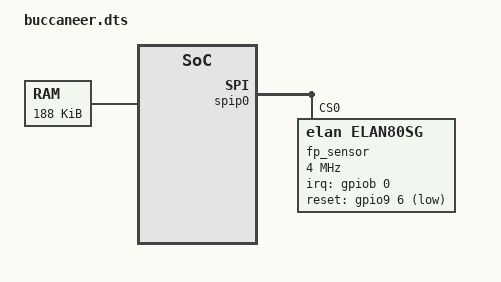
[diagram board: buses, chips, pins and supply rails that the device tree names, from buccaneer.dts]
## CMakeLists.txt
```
# Copyright 2025 The ChromiumOS Authors
# Use of this source code is governed by a BSD-style license that can be
# found in the LICENSE file.

zephyr_library_sources_ifdef(CONFIG_HELIPILOT_EC_RO_QUIRKS "src/ec_quirks.c")
zephyr_library_sources_ifdef(CONFIG_EC_HOST_CMD "src/fp_transport.c")
zephyr_library_sources("src/power.c")
```

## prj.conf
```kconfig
# Copyright 2025 The ChromiumOS Authors
# Use of this source code is governed by a BSD-style license that can be
# found in the LICENSE file.

CONFIG_BASEBOARD_HELIPILOT=y

# System Controller drivers
CONFIG_SYSCON=y
CONFIG_SYS_CLOCK_HW_CYCLES_PER_SEC=16000000

# Power Management
CONFIG_PM=y
CONFIG_PM_DEVICE=y

# NPCX Flash driver options
CONFIG_FLASH_JESD216_API=y
CONFIG_FLASH_EX_OP_ENABLED=y
CONFIG_CROS_FLASH_NPCX_ERASE_SIZE=0x10000

# NPCX entropy driver options
CONFIG_ENTROPY_GENERATOR=y
CONFIG_ENTROPY_NPCX_DRBG_RESEED_INTERVAL=4294967295

# Set security strength to 256b
CONFIG_ENTROPY_NPCX_DRBG_SECURITY_STRENGTH_256B=y

# Enable OTP Key
CONFIG_NPCX_OTP_KEY=y

# Watchdog
CONFIG_PLATFORM_EC_WATCHDOG_PERIOD_MS=10000
CONFIG_WDT_NPCX_WARNING_LEADING_TIME_MS=3000

# RTC
CONFIG_PLATFORM_EC_RTC=y

# Disable flash shell for helipilot to save space
CONFIG_FLASH_SHELL=n

# Disable math util to save space
CONFIG_PLATFORM_EC_MATH_UTIL=n

# Disable assert to save space
CONFIG_PLATFORM_EC_DEBUG_ASSERT=n

# Host Commands
CONFIG_EC_HOST_CMD_INITIALIZE_AT_BOOT=n
CONFIG_EC_HOST_CMD_HANDLER_TX_BUFFER_SIZE=549
CONFIG_EC_HOST_CMD_HANDLER_RX_BUFFER_SIZE=544
CONFIG_EC_HOST_CMD_BACKEND_SHI=y
CONFIG_EC_HOST_CMD_BACKEND_UART=y
CONFIG_UART_ASYNC_API=y
CONFIG_UART_NPCX_USE_MDMA=y

# When HW_STACK_PROTECTION is enabled, the NULL pointer exception page size
# (CONFIG_CORTEX_M_NULL_POINTER_EXCEPTION_PAGE_SIZE)
# must have size greater or equal ARM_MPU_REGION_MIN_ALIGN_AND_SIZE (0x80).
# However that MPU configuration prevents access to the NPCX ROM functions at
# address 0x40-x0x5c.
#
# In order to keep HW_STACK_PROTECTION enabled, enable NULL pointer exception
# detection via the Data Watchpoint and Trace (DWT) unit.
CONFIG_NULL_POINTER_EXCEPTION_DETECTION_DWT=y

# Helipilot specific CROS EC sizes
CONFIG_CROS_EC_RO_SIZE=0x1F000

# b/427468960#comment10: sysworkq task overflows when handling Host Commands
# HC 0x0122 (EC_CMD_ADD_ENTROPY) and HC 0x0406 (EC_CMD_FP_CONTEXT)
CONFIG_SYSTEM_WORKQUEUE_STACK_SIZE=2048

# Enable runtime power management for devices
# Used in ec_host_cmd_backend_shi_npcx.c. Also see
# https://github.com/zephyrproject-rtos/zephyr/pull/92567.
CONFIG_PM_DEVICE_RUNTIME=y

# Enable NPCX RAM Lock
CONFIG_NPCX_RAM_LOCK=y

# Enable SHI shim initialization via SYS_INIT for earlier execution,
# which is required to prevent a race condition with the host command
# EC_CMD_RWSIG_ACTION (0x011d) during boot/sysjump. See b/427468960.
CONFIG_NPCX_SHI_SHIM_INIT_WITH_SYS_INIT=y

# Current rollback version value for helipilot.
CONFIG_PLATFORM_EC_ROLLBACK_VERSION=0
```

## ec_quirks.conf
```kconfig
# Copyright 2025 The ChromiumOS Authors
# Use of this source code is governed by a BSD-style license that can be
# found in the LICENSE file.

CONFIG_HELIPILOT_EC_RO_QUIRKS=y
```

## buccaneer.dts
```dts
/* Copyright 2025 The ChromiumOS Authors.
 * Use of this source code is governed by a BSD-style license that can be
 * found in the LICENSE file.
 */

#include "soc.dtsi"
#include "gpio.dtsi"
#include "buccaneer/rwsig.dtsi"

#include <cros/integrated_fwid.dtsi>
#include <cros/integrated_ro_frid.dtsi>

#define ELAN80SG_COMMON_IMAGE_PROPS \
	width = <80>; \
	height = <80>; \
	bits-per-pixel = <14>; \
	frame-size = <12800>; \
	image-data-offset-bytes = <0>; \
	v4l2-pixel-format = "V4L2_PIX_FMT_GREY";

/ {
	chosen {
		cros-fp,fingerprint-sensor = &fp_sensor;
		zephyr,host-cmd-shi-backend = &shi0;
		zephyr,host-cmd-uart-backend = &uart2;
		zephyr,shell-uart = &uart1;
		cros,rtc = &mtc;
	};

	binman {
		pad-byte = <0xff>;

		/* Total Flash size is 1 MB. */
		size = <0x100000>;

		/* First 128 kB (uniform 4 kB sectors) used for RO */
		wp-ro {
			offset = <0x0>;
			size = <0x20000>;
			ec-ro {
				pad-byte = <0xff>;
				ro-fw {
					/*
					 * Clang doesn't emit STT_SECTION symbols (also
					 * called 'section symbols'), so 'rom_start'
					 * symbol is not available. Fortunately, Zephyr
					 * linker scripts provide '__rom_start_address'
					 * symbol which points to the beginning of
					 * 'rom_start' section.
					 */
					elf-base-sym = "__rom_start_address";
				};
			};
		};

		/* Two rollback sections (64 kB each) */
		rollback0 {
			offset = <0x20000>;
			size = <0x10000>;
			type = "blob";
			filename = "../build-rw/rollback_initial_data.bin";
		};

		rollback1 {
			offset = <0x30000>;
			size = <0x10000>;
			type = "blob";
			filename = "../build-rw/rollback_initial_data.bin";
		};

		/* 320 kB used for RW - buccaneer ECOS flash size */
		ec-rw {
			offset = <0x40000>;
			size = <0x50000>;
			rw-fw {
				/*
				 * Clang doesn't emit STT_SECTION symbols (also
				 * called 'section symbols'), so 'rom_start'
				 * symbol is not available. Fortunately, Zephyr
				 * linker scripts provide '__rom_start_address'
				 * symbol which points to the beginning of
				 * 'rom_start' section.
				 */
				zephyr-rw {
					elf-base-sym = "__rom_start_address";
				};
			};
		};
	};
};

/*
 *           ┌──────────────┐
 *           │   Reserved   │
 *           │     4KB      │
 *           ├──────────────┤0x200D7000
 *           │              │
 *           │              │
 *           │   Data RAM   │
 *           │     188KB    │
 *           │              │
 *           │              │
 * 0x100A8000├──────────────┤0x200A8000
 *           │              │
 *           │              │
 *           │              │
 *           │              │
 *           │   Code RAM   │
 *           │     320KB    │
 *           │              │
 *           │              │
 *           │              │
 *           │              │
 *           │              │
 * 0x10058000└──────────────┘
 */
&flash0 {
    reg = <0x10058000 DT_SIZE_K(320)>;
};

/delete-node/ &sram0;

/ {
	sram0: memory@200a8000 {
		compatible = "mmio-sram";
		reg = <0x200A8000 DT_SIZE_K(188)>;
	};
};

&flash0 {
	partitions {
		compatible = "fixed-partitions";
		#address-cells = <1>;
		#size-cells = <1>;

		/* First rollback section */
		rollback0: partition@20000 {
			label = "rollback0";
			reg = <0x20000 DT_SIZE_K(64)>;
		};

		/* Second rollback section */
		rollback1: partition@30000 {
			label = "rollback1";
			reg = <0x30000 DT_SIZE_K(64)>;
		};
	};
};

&spip0 {
	fp_sensor: elan80sg@0 {
		compatible = "elan,elan80sg";
		reg = <0>;
		spi-max-frequency = <4000000>;

		configs {
			compatible = "fingerprint-image-frame-params";
			config0 {
				ELAN80SG_COMMON_IMAGE_PROPS
				capture-type = "FINGERPRINT_CAPTURE_TYPE_VENDOR_FORMAT";
			};
			config1 {
				ELAN80SG_COMMON_IMAGE_PROPS
				capture-type = "FINGERPRINT_CAPTURE_TYPE_SIMPLE_IMAGE";
			};
			config2 {
				ELAN80SG_COMMON_IMAGE_PROPS
				capture-type = "FINGERPRINT_CAPTURE_TYPE_PATTERN0";
			};
			config3 {
				ELAN80SG_COMMON_IMAGE_PROPS
				capture-type = "FINGERPRINT_CAPTURE_TYPE_PATTERN1";
			};
			config4 {
				ELAN80SG_COMMON_IMAGE_PROPS
				capture-type = "FINGERPRINT_CAPTURE_TYPE_QUALITY_TEST";
			};
			config5 {
				ELAN80SG_COMMON_IMAGE_PROPS
				capture-type = "FINGERPRINT_CAPTURE_TYPE_RESET_TEST";
			};
		};

		irq-gpios = <&gpiob 0 GPIO_ACTIVE_HIGH>;
		reset-gpios = <&gpio9 6 GPIO_ACTIVE_LOW>;
	};
};
```

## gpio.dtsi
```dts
/* Copyright 2025 The ChromiumOS Authors.
 * Use of this source code is governed by a BSD-style license that can be
 * found in the LICENSE file.
 */

#include <dt-bindings/gpio_defines.h>

/ {
	aliases {
		gpio-wp = &ec_wp_l;
	};

	named-gpios {
		compatible = "named-gpios";

		ap_ec_int_l {
			gpios = <&gpioa 7 GPIO_OUTPUT_HIGH>;
			enum-name = "GPIO_EC_INT_L";
		};

		ec_wp_l: write-protect {
			gpios = <&gpioa 4 GPIO_INPUT>;
		};

		fps_int: fps_int {
			gpios = <&gpiob 0 GPIO_INPUT>;
		};

		fp_rst_odl {
			gpios = <&gpiob 10 GPIO_OUTPUT_HIGH>;
		};

		fp_sensor_sel: fp_sensor_sel {
			gpios = <&gpio4 4 GPIO_INPUT>;
		};

		slp_l: slp_l {
			gpios = <&gpioa 0 GPIO_INPUT>;
		};

		transport_sel: transport_sel {
			gpios = <&gpio4 3 GPIO_INPUT>;
		};

		user_pres_l {
			gpios = <&gpioa 5 GPIO_ODR_HIGH>;
		};

		/* Used to the transport layer detection at the beginning of the
		 * boot.
		 */
		div_highside: div_highside {
			gpios = <&gpio9 3 GPIO_OUTPUT_HIGH>;
		};

		/* unimplemented GPIOs */
		entering-rw {
			enum-name = "GPIO_ENTERING_RW";
		};
	};
};
```

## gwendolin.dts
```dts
/* Copyright 2025 The ChromiumOS Authors.
 * Use of this source code is governed by a BSD-style license that can be
 * found in the LICENSE file.
 */

#include "gpio.dtsi"
#include "gwendolin/rwsig.dtsi"
#include "soc.dtsi"

#include <cros/integrated_fwid.dtsi>

#define EGIG630_DEFAULT_IMAGE_PROPS \
	width = <80>; \
	height = <64>; \
	bits-per-pixel = <8>; \
	frame-size = <5120>; \
	v4l2-pixel-format = "V4L2_PIX_FMT_GREY";

#define EGIG630_TEST_IMAGE_PROPS \
	width = <80>; \
	height = <64>; \
	bits-per-pixel = <16>; \
	frame-size = <10240>; \
	v4l2-pixel-format = "V4L2_PIX_FMT_GREY";

/ {
	chosen {
		cros-fp,fingerprint-sensor = &fp_sensor;
		zephyr,host-cmd-shi-backend = &shi0;
		zephyr,host-cmd-uart-backend = &uart2;
		zephyr,shell-uart = &uart1;
		cros,rtc = &mtc;
	};

	binman {
		pad-byte = <0xff>;

		/* Total Flash size is 1 MB. */
		size = <0x100000>;

		/* First 128 kB (uniform 4 kB sectors) used for RO */
		wp-ro {
			offset = <0x0>;
			size = <0x20000>;
			ec-ro {
				pad-byte = <0xff>;
			};
		};

		/* Two rollback sections (64 kB each) */
		rollback0 {
			offset = <0x20000>;
			size = <0x10000>;
			type = "blob";
			filename = "../build-rw/rollback_initial_data.bin";
		};

		rollback1 {
			offset = <0x30000>;
			size = <0x10000>;
			type = "blob";
			filename = "../build-rw/rollback_initial_data.bin";
		};

		/* 256 kB used for RW - gwendolin ECOS flash size */
		ec-rw {
			offset = <0x40000>;
			size = <0x40000>;
			rw-fw {
				/*
				 * Clang doesn't emit STT_SECTION symbols (also
				 * called 'section symbols'), so 'rom_start'
				 * symbol is not available. Fortunately, Zephyr
				 * linker scripts provide '__rom_start_address'
				 * symbol which points to the beginning of
				 * 'rom_start' section.
				 */
				zephyr-rw {
					elf-base-sym = "__rom_start_address";
				};
			};
		};
	};
};

/*
 *           ┌──────────────┐
 *           │   Reserved   │
 *           │     4KB      │
 *           ├──────────────┤0x200D7000
 *           │              │
 *           │              │
 *           │   Data RAM   │
 *           │     252KB    │
 *           │              │
 *           │              │
 * 0x10098000├──────────────┤0x20098000
 *           │              │
 *           │              │
 *           │              │
 *           │              │
 *           │   Code RAM   │
 *           │     256KB    │
 *           │              │
 *           │              │
 *           │              │
 *           │              │
 *           │              │
 * 0x10058000└──────────────┘
 */
&flash0 {
    reg = <0x10058000 DT_SIZE_K(256)>;
};

/delete-node/ &sram0;

/ {
	sram0: memory@20098000{
		compatible = "mmio-sram";
		reg = <0x20098000 DT_SIZE_K(252)>;
	};
};

&qspi_fiu0 {
	partitions {
		compatible = "fixed-partitions";
		#address-cells = <1>;
		#size-cells = <1>;

		/* First rollback section */
		rollback0: partition@20000 {
			label = "rollback0";
			reg = <0x20000 DT_SIZE_K(64)>;
		};

		/* Second rollback section */
		rollback1: partition@30000 {
			label = "rollback1";
			reg = <0x30000 DT_SIZE_K(64)>;
		};
	};
};

&spip0 {
	fp_sensor: egis630@0 {
		compatible = "egis,egis630";
		reg = <0>;
		spi-max-frequency = <4000000>;

		configs {
			compatible = "fingerprint-image-frame-params";
			config0 {
				EGIG630_DEFAULT_IMAGE_PROPS
				capture-type = "FINGERPRINT_CAPTURE_TYPE_SIMPLE_IMAGE";
			};
			config1 {
				EGIG630_TEST_IMAGE_PROPS
				capture-type = "FINGERPRINT_CAPTURE_TYPE_PATTERN0";
			};
			config2 {
				EGIG630_TEST_IMAGE_PROPS
				capture-type = "FINGERPRINT_CAPTURE_TYPE_PATTERN1";
			};
			config3 {
				EGIG630_TEST_IMAGE_PROPS
				capture-type = "FINGERPRINT_CAPTURE_TYPE_DEFECT_PXL_TEST";
			};
			config4 {
				EGIG630_TEST_IMAGE_PROPS
				capture-type = "FINGERPRINT_CAPTURE_TYPE_ABNORMAL_TEST";
			};
			config5 {
				EGIG630_TEST_IMAGE_PROPS
				capture-type = "FINGERPRINT_CAPTURE_TYPE_NOISE_TEST";
			};
			config6 {
				EGIG630_TEST_IMAGE_PROPS
				capture-type = "FINGERPRINT_CAPTURE_TYPE_QUALITY_TEST";
			};
		};

		irq-gpios = <&gpiob 0 GPIO_ACTIVE_HIGH>;
		reset-gpios = <&gpio9 6 GPIO_ACTIVE_LOW>;
	};
};
```

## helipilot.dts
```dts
/* Copyright 2025 The ChromiumOS Authors.
 * Use of this source code is governed by a BSD-style license that can be
 * found in the LICENSE file.
 */

#include "soc.dtsi"
#include "gpio.dtsi"
#include "rwsig.dtsi"

#include <cros/integrated_fwid.dtsi>
#include <cros/integrated_ro_frid.dtsi>

#define FPC1025_BASE_IMAGE_PROPS \
    width = <160>; \
    height = <160>; \
    bits-per-pixel = <8>; \
    image-data-offset-bytes = <400>; \
    v4l2-pixel-format = "V4L2_PIX_FMT_GREY";

#define FPC1025_RAW_IMAGE_PROPS \
    FPC1025_BASE_IMAGE_PROPS \
    /*
     * Sensor raw image size
     *
     * Value from fpc_bep_image_get_buffer_size(): (160*160)+660
     */ \
    frame-size = <26260>;

#define FPC1025_REAL_IMAGE_PROPS \
    FPC1025_BASE_IMAGE_PROPS \
    /* Sensor real image size: (160*160) */ \
    frame-size = <25600>;

/ {
	chosen {
		cros-fp,fingerprint-sensor = &fp_sensor;
		zephyr,host-cmd-shi-backend = &shi0;
		zephyr,host-cmd-uart-backend = &uart2;
		zephyr,shell-uart = &uart1;
		cros,rtc = &mtc;
	};

	binman {
		pad-byte = <0xff>;

		/* Total Flash size is 1 MB. */
		size = <0x100000>;

		/* First 128 kB (uniform 4 kB sectors) used for RO */
		wp-ro {
			offset = <0x0>;
			size = <0x20000>;
			ec-ro {
				pad-byte = <0xff>;
				ro-fw {
					/*
					 * Clang doesn't emit STT_SECTION symbols (also
					 * called 'section symbols'), so 'rom_start'
					 * symbol is not available. Fortunately, Zephyr
					 * linker scripts provide '__rom_start_address'
					 * symbol which points to the beginning of
					 * 'rom_start' section.
					 */
					elf-base-sym = "__rom_start_address";
				};
			};
		};

		/* Two rollback sections (64 kB each) */
		rollback0 {
			offset = <0x20000>;
			size = <0x10000>;
			type = "blob";
			filename = "../build-rw/rollback_initial_data.bin";
		};

		rollback1 {
			offset = <0x30000>;
			size = <0x10000>;
			type = "blob";
			filename = "../build-rw/rollback_initial_data.bin";
		};

		/* 320 kB used for RW - helipilot ECOS flash size */
		ec-rw {
			offset = <0x40000>;
			size = <0x50000>;
			rw-fw {
				/*
				 * Clang doesn't emit STT_SECTION symbols (also
				 * called 'section symbols'), so 'rom_start'
				 * symbol is not available. Fortunately, Zephyr
				 * linker scripts provide '__rom_start_address'
				 * symbol which points to the beginning of
				 * 'rom_start' section.
				 */
				zephyr-rw {
					elf-base-sym = "__rom_start_address";
				};
			};
		};
	};
};

/*
 * Due to a rounding bug in ECOS helipilot, the size of RW now baked into
 * RO is 320 kB (0x50000). This change updates the code RAM to 320 kB
 * correspondingly, freeing up additional data memory. This results in the
 * following memory map for Zephyr Helipilot:
 *
 *           ┌──────────────┐
 *           │   Reserved   │
 *           │     4KB      │
 *           ├──────────────┤0x200D7000
 *           │              │
 *           │              │
 *           │   Data RAM   │
 *           │     188KB    │
 *           │              │
 *           │              │
 * 0x100A8000├──────────────┤0x200A8000
 *           │              │
 *           │              │
 *           │              │
 *           │              │
 *           │   Code RAM   │
 *           │     320KB    │
 *           │              │
 *           │              │
 *           │              │
 *           │              │
 *           │              │
 * 0x10058000└──────────────┘
 */
&flash0 {
    reg = <0x10058000 DT_SIZE_K(320)>;
};

/delete-node/ &sram0;

/ {
	sram0: memory@200a8000 {
		compatible = "mmio-sram";
		reg = <0x200A8000 DT_SIZE_K(188)>;
	};
};

&flash0 {
	partitions {
		compatible = "fixed-partitions";
		#address-cells = <1>;
		#size-cells = <1>;

		/* First rollback section */
		rollback0: partition@20000 {
			label = "rollback0";
			reg = <0x20000 DT_SIZE_K(64)>;
		};

		/* Second rollback section */
		rollback1: partition@30000 {
			label = "rollback1";
			reg = <0x30000 DT_SIZE_K(64)>;
		};
	};
};

&spip0 {
	fp_sensor: fpc1025@0 {
		compatible = "fpc,fpc1025";
		reg = <0>;
		spi-max-frequency = <4000000>;

		configs {
			compatible = "fingerprint-image-frame-params";
			config0 {
				FPC1025_RAW_IMAGE_PROPS
				capture-type = "FINGERPRINT_CAPTURE_TYPE_VENDOR_FORMAT";
			};
			config1 {
				FPC1025_REAL_IMAGE_PROPS
				capture-type = "FINGERPRINT_CAPTURE_TYPE_SIMPLE_IMAGE";
			};
			config2 {
				FPC1025_REAL_IMAGE_PROPS
				capture-type = "FINGERPRINT_CAPTURE_TYPE_PATTERN0";
			};
			config3 {
				FPC1025_REAL_IMAGE_PROPS
				capture-type = "FINGERPRINT_CAPTURE_TYPE_PATTERN1";
			};
			config4 {
				FPC1025_RAW_IMAGE_PROPS
				capture-type = "FINGERPRINT_CAPTURE_TYPE_QUALITY_TEST";
			};
			config5 {
				FPC1025_REAL_IMAGE_PROPS
				capture-type = "FINGERPRINT_CAPTURE_TYPE_RESET_TEST";
			};
		};

		irq-gpios = <&gpiob 0 GPIO_ACTIVE_HIGH>;
		reset-gpios = <&gpio9 6 GPIO_ACTIVE_LOW>;
	};
};
```

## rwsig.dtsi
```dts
/* Copyright 2025 The ChromiumOS Authors.
 * Use of this source code is governed by a BSD-style license that can be
 * found in the LICENSE file.
 */
#include <cros/binman.dtsi>

&binman {
	wp-ro {
		ec-ro {
			key-ro {
				compatible = "cros-ec,flash-layout";
				type = "section";
				offset = <0x1ec40>;
				size = <0x400>;
			};
		};
	};

	ec-rw {
		rw-fw {
			pad-byte = <0xff>;

			rw-rbver {
				size = <4>;
				type = "null";
				/* points to
				 * current_image_data.rollback_version
				 */
				offset-from-elf = <&zephyr_rw>,
					"current_image_data", <40>;
				overlap;
			};
			sig-rw {
				type = "section";
				offset = <0x4fc00>;
				size = <0x400>;
			};
		};
	};
};
```

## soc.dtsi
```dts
/* Copyright 2025 The ChromiumOS Authors.
 * Use of this source code is governed by a BSD-style license that can be
 * found in the LICENSE file.
 */

#include <cros/nuvoton/npcx9_cros.dtsi>
#include <nuvoton/npcx/npcx9/npcx9-pinctrl.dtsi>


/ {
       soc {
              itim5: timer@400b8000 {
                     compatible = "nuvoton,npcx-itim-timer";
                     reg = <0x400b8000 0x2000>;
                     clocks = <&pcc NPCX_CLOCK_BUS_LFCLK NPCX_PWDWN_CTL6 1>;
                     interrupts = <44 1>; /* Event timer interrupt */
              };
       };
};

/* DRBG: Deterministic Random Bit Generator */
&drbg0 {
	status = "okay";
};

/*
 * RAM Memory Map used in ECOS Helipilot:
 *
 *           ┌──────────────┐
 *           │   Reserved   │
 *           │     4KB      │
 *           ├──────────────┤0x200D7000
 *           │              │
 *           │              │
 *           │   Data RAM   │
 *           │     156KB    │
 *           │              │
 *           │              │
 * 0x100B0000├──────────────┤0x200B0000
 *           │              │
 *           │              │
 *           │              │
 *           │              │
 *           │   Code RAM   │
 *           │     352KB    │
 *           │              │
 *           │              │
 *           │              │
 *           │              │
 *           │              │
 * 0x10058000└──────────────┘
 */
&flash0 {
    reg = <0x10058000 DT_SIZE_K(352)>;
};

/delete-node/ &sram0;

/ {
	sram0: memory@200b0000 {
		compatible = "mmio-sram";
		reg = <0x200B0000 DT_SIZE_K(156)>;
	};
};

/* UART1: Servo UART (console) */
&uart1 {
      /* Use UART1_SL2 ie. PIN64.65 */
       pinctrl-0 = <&uart1_2_sin_gp64
                    &uart1_2_sout_gp65>;
       pinctrl-names = "default";
       current-speed = <115200>;
};

/* UART2: AP UART (Host Commands and MKBP) */
&uart2 {
       pinctrl-0 = <&uart2_sin_gp75
                        &uart2_sout_gp86>;
       pinctrl-names = "default";
       current-speed = <3000000>;
};

/*
 * SPI0: communication with the fingerprint sensor
 */
&spip0 {
	pinctrl-0 = <&spip_sclk_mosi_miso_gp95_gpa1_gpa3_gpa5_sl
		     &spip_sclk_mosi_miso_gp95_gpa1_gpa3_gpa5_no_spip_inv>;
	pinctrl-names = "default";
	cs-gpios = <&gpioa 6 GPIO_ACTIVE_LOW>;
	status = "okay";
};

/*
 * PCC: increase core/APB clock to 96 MHz
 */
&pcc {
	clock-frequency = <DT_FREQ_M(96)>; /* OFMCLK runs at 96 MHz */
	core-prescaler = <1>; /* CORE_CLK runs at 96 MHz */
	apb1-prescaler = <6>; /* APB1_CLK runs at 16 MHz */
	apb2-prescaler = <6>; /* APB2_CLK runs at 16 MHz */
	apb3-prescaler = <6>; /* APB3_CLK runs at 16 MHz */
	/*
	 * APB4_CLK runs at 48 MHz, required to support
	 * UART2 Baudrate=3 MHz
	 */
	apb4-prescaler = <2>;
};
```

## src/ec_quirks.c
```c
/* Copyright 2025 The ChromiumOS Authors
 * Use of this source code is governed by a BSD-style license that can be
 * found in the LICENSE file.
 */

#include "hooks.h"

#include <zephyr/devicetree.h>
#include <zephyr/drivers/clock_control.h>

#define ITIM5_NODE DT_NODELABEL(itim5)

extern void arm_core_mpu_disable(void);

/* TODO(b/394346384): De-duplicate with bloonchipper code */
static void prepare_for_sysjump_to_ec(void)
{
	/*
	 * When HW_STACK_PROTECTION is enabled on ARMv7-M microcontroller then
	 * the last 64 bytes of the stack is protected to detect stack
	 * overflows. Size of protected region must be greater than exception
	 * frame, so CPU won't overwrite some other data when exception occurs.
	 *
	 * EC uses different RAM layout than Zephyr, so it's possible that after
	 * sysjump some variables are stored in the protected region. EC also
	 * reconfigures MPU late (Zephyr does it in reset handler).
	 *
	 * Disable MPU protection to avoid problems after sysjump to EC.
	 */
	arm_core_mpu_disable();
}
DECLARE_HOOK(HOOK_SYSJUMP, prepare_for_sysjump_to_ec, HOOK_PRIO_LAST);

/*
 * Old FPMCU RO (EC based) uses ITIM32-5 as a watchdog warning to save the
 * CPU state before the real watchdog resets it. Zephyr instead uses the
 * watchdog module and it's capability to trigger warnings, so we disable this
 * timer to avoid an unhandled IRQ crash in cases where ECOS RO is used to
 * boot Zephyr RW.
 */
static const struct npcx_clk_cfg itim5_clk_cfg = {
	.bus = DT_CLOCKS_CELL_BY_IDX(ITIM5_NODE, 0, bus),
	.ctrl = DT_CLOCKS_CELL_BY_IDX(ITIM5_NODE, 0, ctl),
	.bit = DT_CLOCKS_CELL_BY_IDX(ITIM5_NODE, 0, bit),
};

static int disable_itim5(void)
{
	static struct itim32_reg *const itim5_reg =
		(struct itim32_reg *)DT_REG_ADDR(ITIM5_NODE);

	irq_disable(DT_IRQN(ITIM5_NODE));

	itim5_reg->ITCTS32 &= ~BIT(NPCX_ITCTSXX_ITEN);

	clock_control_off(DEVICE_DT_GET(NPCX_CLK_CTRL_NODE),
			  (clock_control_subsys_t)&itim5_clk_cfg);

	return 0;
}
SYS_INIT(disable_itim5, POST_KERNEL, CONFIG_APPLICATION_INIT_PRIORITY);
```

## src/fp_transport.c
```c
/* Copyright 2025 The ChromiumOS Authors
 * Use of this source code is governed by a BSD-style license that can be
 * found in the LICENSE file.
 */

#include <zephyr/device.h>
#include <zephyr/devicetree.h>
#include <zephyr/drivers/gpio.h>
#include <zephyr/init.h>
#include <zephyr/kernel.h>
#include <zephyr/mgmt/ec_host_cmd/ec_host_cmd.h>
#include <zephyr/pm/device.h>

#include <ec_commands.h>
#include <fpsensor/fpsensor_detect.h>
#include <gpio_signal.h>

#if !defined(CONFIG_EC_HOST_CMD_BACKEND_SHI) && \
	!defined(CONFIG_EC_HOST_CMD_BACKEND_UART)
BUILD_ASSERT(0, "Both backends are not enabled");
#endif

#ifndef CONFIG_EC_HOST_CMD_INITIALIZE_AT_BOOT
test_export_static int fp_transport_init(void)
{
#ifdef CONFIG_EC_HOST_CMD_BACKEND_UART
	const struct device *const dev_uart =
		DEVICE_DT_GET(DT_CHOSEN(zephyr_host_cmd_uart_backend));
#endif /* CONFIG_EC_HOST_CMD_BACKEND_UART */
#ifdef CONFIG_EC_HOST_CMD_BACKEND_SHI
	const struct device *const dev_shi =
		DEVICE_DT_GET(DT_CHOSEN(zephyr_host_cmd_shi_backend));
#endif /* CONFIG_EC_HOST_CMD_BACKEND_SPI */

	switch (get_fp_transport_type()) {
	case FP_TRANSPORT_TYPE_UART:
#ifdef CONFIG_EC_HOST_CMD_BACKEND_SHI
		pm_device_action_run(dev_shi, PM_DEVICE_ACTION_SUSPEND);
#endif /* CONFIG_EC_HOST_CMD_BACKEND_SHI */
#ifdef CONFIG_EC_HOST_CMD_BACKEND_UART
		ec_host_cmd_init(ec_host_cmd_backend_get_uart(dev_uart));
#endif /* CONFIG_EC_HOST_CMD_BACKEND_UART */

		break;
	case FP_TRANSPORT_TYPE_SPI:
#ifdef CONFIG_EC_HOST_CMD_BACKEND_UART
		pm_device_action_run(dev_uart, PM_DEVICE_ACTION_SUSPEND);
#endif /* CONFIG_EC_HOST_CMD_BACKEND_UART */
#ifdef CONFIG_EC_HOST_CMD_BACKEND_SHI
		ec_host_cmd_init(ec_host_cmd_backend_get_shi_npcx());
#endif /* CONFIG_EC_HOST_CMD_BACKEND_SHI */

		break;
	default:
		break;
	}

	return 0;
}
SYS_INIT(fp_transport_init, POST_KERNEL, CONFIG_EC_HOST_CMD_INIT_PRIORITY);
#endif
```

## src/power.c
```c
/* Copyright 2025 The ChromiumOS Authors
 * Use of this source code is governed by a BSD-style license that can be
 * found in the LICENSE file.
 */

#include "fpsensor/fpsensor_detect.h"
#include "hooks.h"

#include <zephyr/device.h>
#include <zephyr/devicetree.h>
#include <zephyr/drivers/gpio.h>
#include <zephyr/init.h>
#include <zephyr/kernel.h>
#include <zephyr/pm/device.h>
#include <zephyr/pm/policy.h>

static struct k_work slp_event_work;
static struct gpio_callback slp_event_callback;

/* TODO(b/394346384): De-duplicate with bloonchipper code */

static void slp_event_handler(struct k_work *work)
{
	static bool suspend_allowed = true;

	int running = gpio_pin_get_dt(GPIO_DT_FROM_NODELABEL(slp_l));

	if (running) { /* S0 */
		if (suspend_allowed) {
			pm_policy_state_lock_get(PM_STATE_SUSPEND_TO_IDLE,
						 PM_ALL_SUBSTATES);
			suspend_allowed = false;
		}
		/* Added for compatibility with CrosEC, even if there are no
		 * consumers for this signal.
		 */
		hook_notify(HOOK_CHIPSET_RESUME);
	} else { /* S0ix/S3 */
		hook_notify(HOOK_CHIPSET_SUSPEND);
		if (!suspend_allowed) {
			pm_policy_state_lock_put(PM_STATE_SUSPEND_TO_IDLE,
						 PM_ALL_SUBSTATES);
			suspend_allowed = true;
		}
	}
}

static void slp_event_isr(const struct device *port, struct gpio_callback *cb,
			  gpio_port_pins_t pins)
{
	/* Use k_work to call hook_notify */
	k_work_submit(&slp_event_work);
}

static int slp_event_init(void)
{
	k_work_init(&slp_event_work, slp_event_handler);

	/* Enable and configure interrupts for both sleep pins */
	gpio_init_callback(&slp_event_callback, slp_event_isr,
			   BIT(GPIO_DT_FROM_NODELABEL(slp_l)->pin));
	gpio_add_callback_dt(GPIO_DT_FROM_NODELABEL(slp_l),
			     &slp_event_callback);
	gpio_pin_interrupt_configure_dt(GPIO_DT_FROM_NODELABEL(slp_l),
					GPIO_INT_EDGE_BOTH);

	/* Get init state of the sleep pins */
	k_work_submit(&slp_event_work);

	return 0;
}
SYS_INIT(slp_event_init, POST_KERNEL, CONFIG_APPLICATION_INIT_PRIORITY);

static int gpio_init(void)
{
	const struct device *dev_gpioc = DEVICE_DT_GET(DT_NODELABEL(gpioc));

	pm_device_action_run(dev_gpioc, PM_DEVICE_ACTION_SUSPEND);

	return 0;
}
SYS_INIT(gpio_init, POST_KERNEL, CONFIG_APPLICATION_INIT_PRIORITY);
```
